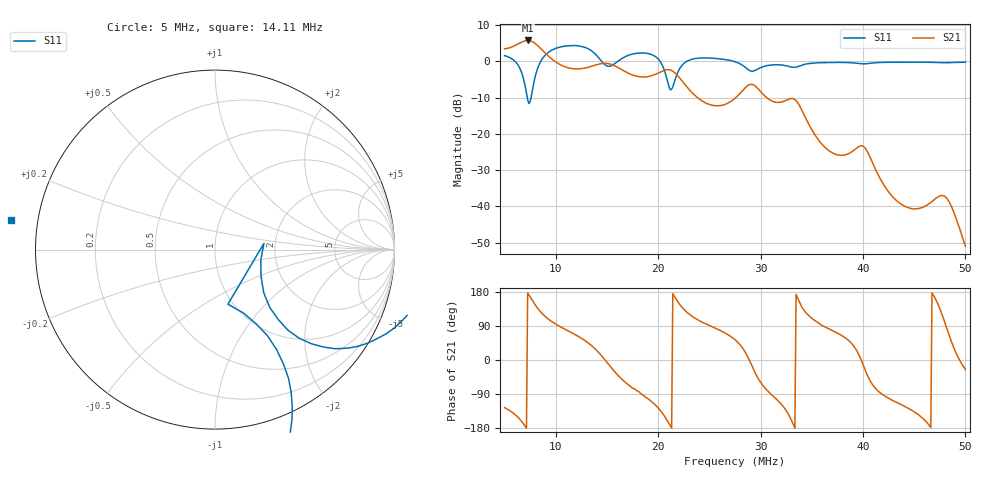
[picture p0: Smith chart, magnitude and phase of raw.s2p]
! S11/S21 only; reverse parameters are placeholders. Device calibration unverified.
! NanoVNA F V2 profile | COM3 | 2026-09-08T10:30:46.9486440-04:00 | device calibration unverified
# HZ S RI R 50
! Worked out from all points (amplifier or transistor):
!   401 points, 5 MHz to 50 MHz, reference 50 ohm
!   highest |S21| = 5.7 dB at 7.25 MHz (marker M1)
!   |S21| within 3 dB of that: start of sweep to 8.793 MHz
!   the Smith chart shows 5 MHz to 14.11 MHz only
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5000000  1.179 -0.2096  -0.8667 -1.205  0 0  0 0
6350000  0.6718 -0.5525  -1.546 -0.809  0 0  0 0
7250000  0.2567 -0.1493  -1.935 0.1088  0 0  0 0
8487500  0.4306 -0.876  -0.933 1.198  0 0  0 0
1.05125e7  -0.1296 -1.576  0.0519 0.8844  0 0  0 0
1.25375e7  -1.006 -1.244  0.4344 0.6631  0 0  0 0
1.38875e7  -1.243 -0.0826  0.7839 0.4176  0 0  0 0
1.52375e7  0.0479 0.8513  0.8931 -0.2277  0 0  0 0
1.625e7  0.9521 0.4292  0.557 -0.5664  0 0  0 0
1.7375e7  1.222 -0.2477  0.2086 -0.6233  0 0  0 0
2.0075e7  0.1412 -1.035  -0.4365 -0.5429  0 0  0 0
2.0975e7  -0.458 -0.1792  -0.7354 -0.213  0 0  0 0
2.1875e7  0.2817 0.6241  -0.5812 0.2675  0 0  0 0
2.35625e7  1.074 0.1727  -0.1206 0.3189  0 0  0 0
2.75e7  0.8988 -0.4098  0.1834 0.2485  0 0  0 0
3.00875e7  0.7885 -0.2455  0.173 -0.3272  0 0  0 0
3.3125e7  0.704 -0.4355  -0.2964 -0.0764  0 0  0 0
3.50375e7  0.7779 -0.5313  -0.0367 0.1053  0 0  0 0
4.01e7  0.5692 -0.7227  0.0625 -0.0211  0 0  0 0
4.2575e7  0.5182 -0.8192  -0.00322 -0.015  0 0  0 0
4.7975e7  0.2998 -0.9073  -0.00254 0.0135  0 0  0 0
5e7  0.2344 -0.9415  0.00254 -0.00121  0 0  0 0
